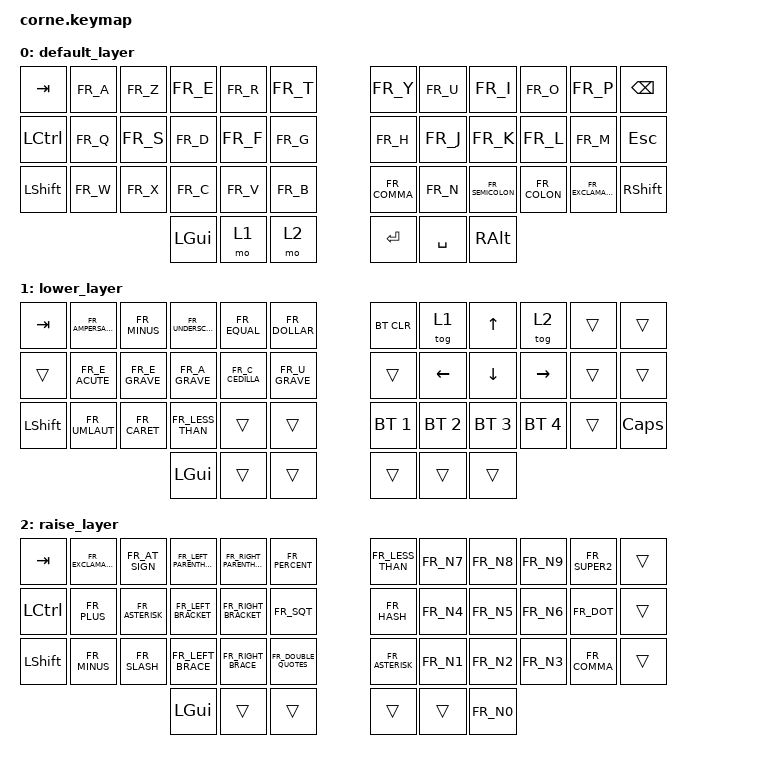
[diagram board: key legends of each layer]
/*
 * Copyright (c) 2020 The ZMK Contributors
 *
 * SPDX-License-Identifier: MIT
 */

#include <behaviors.dtsi>
#include <dt-bindings/zmk/bt.h>
#include <dt-bindings/zmk/keys.h>
#include <locale/keys_fr.h>
/ {
    keymap {
        compatible = "zmk,keymap";

        default_layer {
            // -----------------------------------------------------------------------------------------
            // |  TAB |  Q  |  W  |  E  |  R  |  T  |   |  Y  |  U   |  I  |  O  |  P  |  BSP  |
            // | CTRL |  A  |  S  |  D  |  F  |  G  |   |  H  |  J   |  K  |  L  |  M  |  ESC  |
            // | SHFT |  Z  |  X  |  C  |  V  |  B  |   |  N  |  ,   |  ;  |  :  |  !  | SHIFT |
            //                    | GUI | LWR | RWR |   | ENT | SPACE| ALT |

            bindings = <
&kp TAB     &kp FR_A  &kp FR_Z  &kp FR_E     &kp FR_R  &kp FR_T        &kp FR_Y    &kp FR_U  &kp FR_I      &kp FR_O          &kp FR_P          &kp BSPC
&kp LCTRL  &kp FR_Q  &kp FR_S  &kp FR_D     &kp FR_F  &kp FR_G        &kp FR_H    &kp FR_J  &kp FR_K      &kp FR_L          &kp FR_M  &kp ESC
&kp LSHIFT	&kp FR_W  &kp FR_X  &kp FR_C     &kp FR_V  &kp FR_B        &kp FR_COMMA    &kp FR_N  &kp FR_SEMICOLON  &kp FR_COLON  &kp FR_EXCLAMATION  &kp RSHIFT
                          &kp LGUI  &mo 1  &mo 2    &kp RET  &kp SPACE &kp RALT
            >;
        };

        lower_layer {
            // -----------------------------------------------------------------------------------------
            // |  TAB |  &  |  -  |  _  |  =  |  $  |   | BT_CLR|   tg1 |  UP  |  tg2  |      |      |
            // | CTRL |  é  |  è  |  à  |  ç  |  ù  | 	|    	| LEFT	| DOWN | RIGHT |      |      |
            // | SHFT |  ¨  |  ^  |  <  |     |     |   |  BT1  |  BT2  | BT3  |  BT4  |      | CAPS |
            //                    | GUI |     |     |   | ENT   | SPACE |  ALT |

            bindings = <
&kp TAB   	&kp FR_AMPERSAND    &kp FR_MINUS    &kp FR_UNDERSCORE   &kp FR_EQUAL  		&kp FR_DOLLAR   &bt BT_CLR  	&tog 1    		&kp UP_ARROW    &tog 2	  		&trans  &trans
&trans		&kp FR_E_ACUTE 		&kp FR_E_GRAVE  &kp FR_A_GRAVE   	&kp FR_C_CEDILLA   	&kp FR_U_GRAVE  &trans   		&kp LEFT_ARROW  &kp DOWN_ARROW  &kp RIGHT_ARROW &trans  &trans
&kp LSHFT   &kp FR_UMLAUT       &kp FR_CARET	&kp FR_LESS_THAN    &trans        		&trans          &bt BT_SEL 1  	&bt BT_SEL 2  	&bt BT_SEL 3 	&bt BT_SEL 4 	&trans  &kp CAPS
												&kp LGUI            &trans            	&trans        	&trans      	&trans       	&trans
            >;
        };

        raise_layer {
            // -----------------------------------------------------------------------------------------
            // |  TAB |  !  |  @  |  (  |  )  |  %  |   |  <  |  7  |  8  |  9  |  ²  |      |
            // | CTRL |  +  |  *  |  [  |  ]  |  '  |   |  #  |  4  |  5  |  6  |  .  |      |
            // | SHFT |  -  |  /  |  {  |  }  |  "  |   |  *  |  1  |  2  |  3  |  ,  |      |
            //                    | GUI |     |     |   |     |     | 0 | 

            bindings = <
&kp TAB    &kp FR_EXCLAMATION   &kp FR_AT_SIGN  &kp FR_LEFT_PARENTHESIS  &kp FR_RIGHT_PARENTHESIS  &kp FR_PERCENT  			&kp FR_LESS_THAN 	&kp FR_N7  &kp FR_N8  &kp FR_N9  &kp FR_SUPER2 	&trans
&kp LCTRL  &kp FR_PLUS   		&kp FR_ASTERISK &kp FR_LEFT_BRACKET      &kp FR_RIGHT_BRACKET      &kp FR_SQT      			&kp FR_HASH    	 	&kp FR_N4  &kp FR_N5  &kp FR_N6  &kp FR_DOT		&trans
&kp LSHFT  &kp FR_MINUS  		&kp FR_SLASH    &kp FR_LEFT_BRACE        &kp FR_RIGHT_BRACE        &kp FR_DOUBLE_QUOTES 	&kp FR_ASTERISK  	&kp FR_N1  &kp FR_N2  &kp FR_N3  &kp FR_COMMA   &trans
													&kp LGUI    			&trans           			&trans    		&trans    		&trans       		&kp FR_N0
            >;
        };
    };
};
